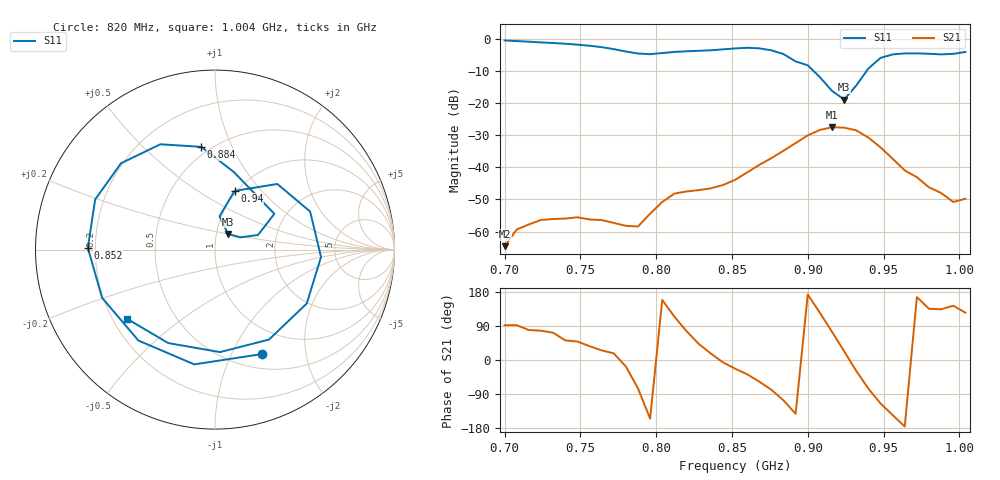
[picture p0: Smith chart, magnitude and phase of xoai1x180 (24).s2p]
# Hz S RI R 50
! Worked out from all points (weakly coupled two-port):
!   39 points, 700 MHz to 1.004 GHz, reference 50 ohm
!   highest |S21| = -27.54 dB at 916 MHz (marker M1); lowest = -64.5 dB at 700 MHz (marker M2)
!   lowest |S11| = -18.9 dB at 924 MHz (marker M3), VSWR 1.26, Z = 56.9 + j10 ohm
!   |S11| at or under -10 dB: 903.8 MHz to 938.9 MHz (35.1 MHz wide, 3.81 % of centre)
!   S12 and S22 are empty: the file has one direction only
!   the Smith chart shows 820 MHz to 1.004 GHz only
!   S11 on the Smith chart (normalised r, x): 820 MHz: 0.67, -1.32; 852 MHz: 0.17, +0.01; 884 MHz: 0.45, +0.77; 940 MHz: 0.98, +0.73; 1.004 GHz: 0.26, -0.32
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7e8  0.7615 0.5539  -1.8e-05 0.000592  0 0  0 0
7.24e8  0.842 -0.2485  0.000332 0.00148  0 0  0 0
7.4e8  0.4558 -0.7026  0.000986 0.00125  0 0  0 0
7.56e8  -0.1948 -0.7552  0.00124 0.000919  0 0  0 0
7.72e8  -0.6619 -0.1945  0.0013 0.000412  0 0  0 0
7.8e8  -0.5881 0.2336  0.00117 -0.000361  0 0  0 0
7.88e8  -0.2377 0.5396  0.000311 -0.00116  0 0  0 0
7.96e8  0.2505 0.5185  -0.00172 -0.00081  0 0  0 0
8.04e8  0.5766 0.1639  -0.00268 0.00106  0 0  0 0
8.2e8  0.2626 -0.5818  0.000997 0.00409  0 0  0 0
8.36e8  -0.4264 -0.5069  0.00449 0.00139  0 0  0 0
8.52e8  -0.7084 0.00964  0.00587 -0.00247  0 0  0 0
8.68e8  -0.5235 0.4812  0.00594 -0.00916  0 0  0 0
8.84e8  -0.0762 0.5724  -0.00513 -0.0174  0 0  0 0
9e8  0.3306 0.1994  -0.0311 0.0039  0 0  0 0
9.08e8  0.2394 0.0811  -0.0216 0.0314  0 0  0 0
9.16e8  0.139 0.068  0.0112 0.0404  0 0  0 0
9.24e8  0.0725 0.0872  0.0381 0.0162  0 0  0 0
9.4e8  0.1089 0.3269  0.00734 -0.028  0 0  0 0
9.56e8  0.53 0.2119  -0.0112 -0.00774  0 0  0 0
9.8e8  0.3008 -0.5013  -0.00346 0.00345  0 0  0 0
1.004e9  -0.491 -0.3849  -0.00185 0.00266  0 0  0 0
